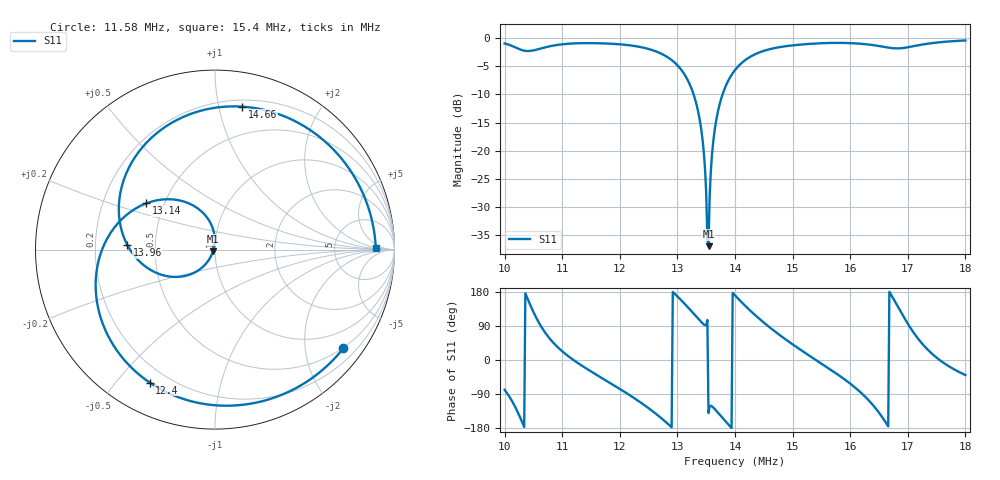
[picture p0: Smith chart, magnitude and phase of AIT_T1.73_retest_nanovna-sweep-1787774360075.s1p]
! NanoVNA Web complex sweep
! Processing: original sample grid, no browser smoothing
# Hz S RI R 50
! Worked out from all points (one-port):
!   401 points, 10 MHz to 18 MHz, reference 50 ohm
!   lowest |S11| = -36.9 dB at 13.54 MHz (marker M1), VSWR 1.03, Z = 48.9 - j0.894 ohm
!   |S11| at or under -10 dB: 13.28 MHz to 13.78 MHz (502.2 kHz wide, 3.71 % of centre)
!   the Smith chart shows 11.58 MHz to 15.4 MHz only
!   S11 on the Smith chart (normalised r, x): 11.58 MHz: 0.48, -2.86; 12.4 MHz: 0.13, -0.61; 13.14 MHz: 0.40, +0.26; 13.96 MHz: 0.34, +0.02; 14.66 MHz: 0.25, +1.18; 15.4 MHz: 18, +1
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1e7  0.1769 -0.8798
1.018e7  -0.449 -0.6991
1.036e7  -0.7693 0.0542
1.05e7  -0.4671 0.6227
1.062e7  -0.0289 0.8062
1.1e7  0.8118 0.3449
1.158e7  0.7146 -0.5507
1.2e7  0.209 -0.8566
1.24e7  -0.3643 -0.7405
1.272e7  -0.6513 -0.3251
1.3e7  -0.5617 0.1212
1.314e7  -0.3827 0.2579
1.338e7  -0.0537 0.1906
1.354e7  -0.0109 -0.00914
1.368e7  -0.1365 -0.1378
1.396e7  -0.4877 0.0241
1.4e7  -0.5138 0.0851
1.426e7  -0.4461 0.5145
1.466e7  0.1519 0.7966
1.5e7  0.6483 0.5696
1.54e7  0.8961 0.0074
1.6e7  0.4196 -0.7964
1.634e7  -0.2928 -0.8249
1.664e7  -0.8156 -0.1403
1.68e7  -0.6904 0.4254
1.7e7  -0.083 0.8256
1.74e7  0.8495 0.298
1.8e7  0.7337 -0.6096
